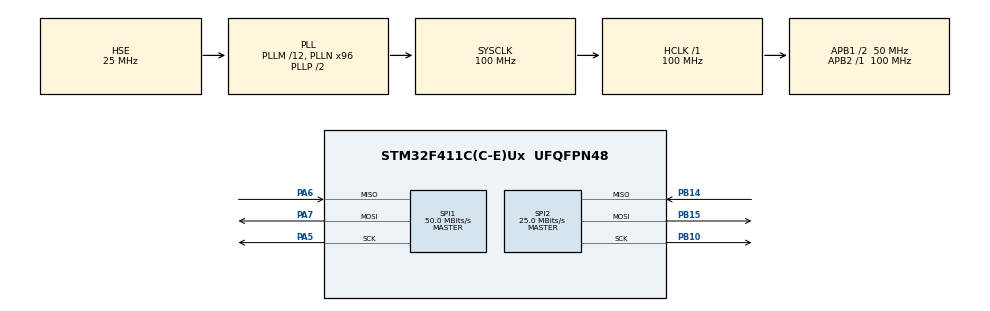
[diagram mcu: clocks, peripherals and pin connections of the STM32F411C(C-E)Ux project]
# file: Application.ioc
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Dma.Request0=SPI2_RX
Dma.Request1=SPI2_TX
Dma.Request2=SPI1_TX
Dma.SPI1_TX.2.Direction=DMA_MEMORY_TO_PERIPH
Dma.SPI1_TX.2.FIFOMode=DMA_FIFOMODE_DISABLE
Dma.SPI1_TX.2.Instance=DMA2_Stream3
Dma.SPI1_TX.2.MemDataAlignment=DMA_MDATAALIGN_BYTE
Dma.SPI1_TX.2.MemInc=DMA_MINC_ENABLE
Dma.SPI1_TX.2.Mode=DMA_NORMAL
Dma.SPI1_TX.2.PeriphDataAlignment=DMA_PDATAALIGN_BYTE
Dma.SPI1_TX.2.PeriphInc=DMA_PINC_DISABLE
Dma.SPI1_TX.2.Priority=DMA_PRIORITY_HIGH
Dma.SPI2_RX.0.Direction=DMA_PERIPH_TO_MEMORY
Dma.SPI2_RX.0.FIFOMode=DMA_FIFOMODE_DISABLE
Dma.SPI2_RX.0.Instance=DMA1_Stream3
Dma.SPI2_RX.0.MemDataAlignment=DMA_MDATAALIGN_BYTE
Dma.SPI2_RX.0.MemInc=DMA_MINC_ENABLE
Dma.SPI2_RX.0.Mode=DMA_NORMAL
Dma.SPI2_RX.0.PeriphDataAlignment=DMA_PDATAALIGN_BYTE
Dma.SPI2_RX.0.PeriphInc=DMA_PINC_DISABLE
Dma.SPI2_RX.0.Priority=DMA_PRIORITY_MEDIUM
Dma.SPI2_TX.1.Direction=DMA_MEMORY_TO_PERIPH
Dma.SPI2_TX.1.FIFOMode=DMA_FIFOMODE_DISABLE
Dma.SPI2_TX.1.Instance=DMA1_Stream4
Dma.SPI2_TX.1.MemDataAlignment=DMA_MDATAALIGN_BYTE
Dma.SPI2_TX.1.MemInc=DMA_MINC_ENABLE
Dma.SPI2_TX.1.Mode=DMA_NORMAL
Dma.SPI2_TX.1.PeriphDataAlignment=DMA_PDATAALIGN_BYTE
Dma.SPI2_TX.1.PeriphInc=DMA_PINC_DISABLE
Dma.SPI2_TX.1.Priority=DMA_PRIORITY_MEDIUM
FREERTOS.Tasks01=defaultTask,24,128,StartDefaultTask,Default,NULL,Dynamic,NULL,NULL
Mcu.Family=STM32F4
Mcu.Name=STM32F411C(C-E)Ux
Mcu.Package=UFQFPN48
NVIC.DMA1_Stream3_IRQn=true\:5\:0\:false\:false\:true\:true\:false\:true\:true
NVIC.DMA1_Stream4_IRQn=true\:5\:0\:false\:false\:true\:true\:false\:true\:true
NVIC.DMA2_Stream3_IRQn=true\:0\:0\:false\:false\:true\:false\:false\:true\:true
NVIC.PriorityGroup=NVIC_PRIORITYGROUP_4
NVIC.SPI1_IRQn=true\:5\:0\:false\:false\:true\:true\:true\:true\:true
NVIC.SPI2_IRQn=true\:5\:0\:false\:false\:true\:true\:true\:true\:true
NVIC.TIM1_UP_TIM10_IRQn=true\:15\:0\:false\:false\:true\:false\:false\:true\:true
NVIC.TimeBase=TIM1_UP_TIM10_IRQn
NVIC.TimeBaseIP=TIM10
PA0-WKUP.Mode=SYS_WakeUp0
PA0-WKUP.Signal=SYS_WKUP
PA13.Mode=Serial_Wire
PA13.Signal=SYS_JTMS-SWDIO
PA14.Mode=Serial_Wire
PA14.Signal=SYS_JTCK-SWCLK
PA5.Mode=Full_Duplex_Master
PA5.Signal=SPI1_SCK
PA6.Mode=Full_Duplex_Master
PA6.Signal=SPI1_MISO
PA7.Mode=Full_Duplex_Master
PA7.Signal=SPI1_MOSI
PB10.Mode=Full_Duplex_Master
PB10.Signal=SPI2_SCK
PB14.Mode=Full_Duplex_Master
PB14.Signal=SPI2_MISO
PB15.Mode=Full_Duplex_Master
PB15.Signal=SPI2_MOSI
PC14-OSC32_IN.Mode=LSE-External-Oscillator
PC14-OSC32_IN.Signal=RCC_OSC32_IN
PC15-OSC32_OUT.Mode=LSE-External-Oscillator
PC15-OSC32_OUT.Signal=RCC_OSC32_OUT
PH0\ -\ OSC_IN.Mode=HSE-External-Oscillator
PH0\ -\ OSC_IN.Signal=RCC_OSC_IN
PH1\ -\ OSC_OUT.Mode=HSE-External-Oscillator
PH1\ -\ OSC_OUT.Signal=RCC_OSC_OUT
ProjectManager.HeapSize=0x200
ProjectManager.StackSize=0x400
ProjectManager.TargetToolchain=CMake
RCC.48MHZClocksFreq_Value=50000000
RCC.AHBFreq_Value=100000000
RCC.APB1CLKDivider=RCC_HCLK_DIV2
RCC.APB1Freq_Value=50000000
RCC.APB1TimFreq_Value=100000000
RCC.APB2Freq_Value=100000000
RCC.APB2TimFreq_Value=100000000
RCC.CortexFreq_Value=100000000
RCC.HCLKFreq_Value=100000000
RCC.HSE_VALUE=25000000
RCC.HSI_VALUE=16000000
RCC.PLLM=12
RCC.PLLN=96
RCC.PLLSourceVirtual=RCC_PLLSOURCE_HSE
RCC.SYSCLKFreq_VALUE=100000000
RCC.SYSCLKSource=RCC_SYSCLKSOURCE_PLLCLK
RCC.VCOOutputFreq_Value=200000000
SPI1.BaudRatePrescaler=SPI_BAUDRATEPRESCALER_2
SPI1.CalculateBaudRate=50.0 MBits/s
SPI1.Direction=SPI_DIRECTION_2LINES
SPI1.Mode=SPI_MODE_MASTER
SPI1.VirtualType=VM_MASTER
SPI2.BaudRatePrescaler=SPI_BAUDRATEPRESCALER_2
SPI2.CalculateBaudRate=25.0 MBits/s
SPI2.Direction=SPI_DIRECTION_2LINES
SPI2.Mode=SPI_MODE_MASTER
SPI2.VirtualType=VM_MASTER
VP_CRC_VS_CRC.Mode=CRC_Activate
VP_FREERTOS_VS_CMSIS_V2.Mode=CMSIS_V2
VP_IWDG_VS_IWDG.Mode=IWDG_Activate
VP_SYS_VS_tim10.Mode=TIM10
board=custom

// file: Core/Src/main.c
/* USER CODE BEGIN Header */
/**
  ******************************************************************************
  * @file           : main.c
  * @brief          : Main program body
  ******************************************************************************
  * @attention
  *
  * Copyright (c) 2026 STMicroelectronics.
  * All rights reserved.
  *
  * This software is licensed under terms that can be found in the LICENSE file
  * in the root directory of this software component.
  * If no LICENSE file comes with this software, it is provided AS-IS.
  *
  ******************************************************************************
  */
/* USER CODE END Header */
#include "main.h"
#include "cmsis_os.h"
#include "crc.h"
#include "dma.h"
#include "iwdg.h"
#include "spi.h"
#include "gpio.h"
#include "delay.h"

void SystemClock_Config(void);
void MX_FREERTOS_Init(void);

int main(void)
{

  /* MCU Configuration--------------------------------------------------------*/

  /* Reset of all peripherals, Initializes the Flash interface and the Systick. */
  HAL_Init();

  /* Configure the system clock */
  SystemClock_Config();

  /* Enable the Cortex-M cycle counter used by software I2C delay_us(). */
  delay_init();

  /* Initialize all configured peripherals */
  MX_GPIO_Init();
  MX_DMA_Init();
  MX_IWDG_Init();
  MX_SPI1_Init();
  MX_SPI2_Init();
  MX_CRC_Init();

  /* Init scheduler */
  osKernelInitialize();  /* Call init function for freertos objects (in cmsis_os2.c) */
  MX_FREERTOS_Init();

  /* Start scheduler */
  osKernelStart();

  /* We should never get here as control is now taken by the scheduler */

  /* Infinite loop */
  while (1)
  {

  }
}

void SystemClock_Config(void)
{
  RCC_OscInitTypeDef RCC_OscInitStruct = {0};
  RCC_ClkInitTypeDef RCC_ClkInitStruct = {0};

  /** Configure the main internal regulator output voltage
  */
  __HAL_RCC_PWR_CLK_ENABLE();
  __HAL_PWR_VOLTAGESCALING_CONFIG(PWR_REGULATOR_VOLTAGE_SCALE1);

  /** Initializes the RCC Oscillators according to the specified parameters
  * in the RCC_OscInitTypeDef structure.
  */
  RCC_OscInitStruct.OscillatorType = RCC_OSCILLATORTYPE_LSI|RCC_OSCILLATORTYPE_HSE;
  RCC_OscInitStruct.HSEState = RCC_HSE_ON;
  RCC_OscInitStruct.LSIState = RCC_LSI_ON;
  RCC_OscInitStruct.PLL.PLLState = RCC_PLL_ON;
  RCC_OscInitStruct.PLL.PLLSource = RCC_PLLSOURCE_HSE;
  RCC_OscInitStruct.PLL.PLLM = 12;
  RCC_OscInitStruct.PLL.PLLN = 96;
  RCC_OscInitStruct.PLL.PLLP = RCC_PLLP_DIV2;
  RCC_OscInitStruct.PLL.PLLQ = 4;
  if (HAL_RCC_OscConfig(&RCC_OscInitStruct) != HAL_OK)
  {
    Error_Handler();
  }

  /** Initializes the CPU, AHB and APB buses clocks
  */
  RCC_ClkInitStruct.ClockType = RCC_CLOCKTYPE_HCLK|RCC_CLOCKTYPE_SYSCLK
                              |RCC_CLOCKTYPE_PCLK1|RCC_CLOCKTYPE_PCLK2;
  RCC_ClkInitStruct.SYSCLKSource = RCC_SYSCLKSOURCE_PLLCLK;
  RCC_ClkInitStruct.AHBCLKDivider = RCC_SYSCLK_DIV1;
  RCC_ClkInitStruct.APB1CLKDivider = RCC_HCLK_DIV2;
  RCC_ClkInitStruct.APB2CLKDivider = RCC_HCLK_DIV1;

  if (HAL_RCC_ClockConfig(&RCC_ClkInitStruct, FLASH_LATENCY_3) != HAL_OK)
  {
    Error_Handler();
  }
}

void HAL_TIM_PeriodElapsedCallback(TIM_HandleTypeDef *htim)
{
  if (htim->Instance == TIM10)
  {
    HAL_IncTick();
  }
}

void Error_Handler(void)
{
  __disable_irq();
  while (1)
  {
  }
}

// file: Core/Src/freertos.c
/* USER CODE BEGIN Header */
/**
  ******************************************************************************
  * File Name          : freertos.c
  * Description        : Code for freertos applications
  ******************************************************************************
  * @attention
  *
  * Copyright (c) 2026 STMicroelectronics.
  * All rights reserved.
  *
  * This software is licensed under terms that can be found in the LICENSE file
  * in the root directory of this software component.
  * If no LICENSE file comes with this software, it is provided AS-IS.
  *
  ******************************************************************************
  */
/* USER CODE END Header */

#include "FreeRTOS.h"
#include "task.h"
#include "main.h"
#include "cmsis_os.h"
#include "storage_service.h"
#include "lvgl_task.h"

/* USER CODE BEGIN Includes */
#include "drv_adapter_port_accel.h"
#include "drv_adapter_port_display.h"
#include "drv_adapter_port_flash.h"
#include "drv_adapter_port_temphumi.h"
#include "drv_adapter_port_touch.h"
#include "accel_service.h"
#include "temp_humi_service.h"

/* USER CODE END Includes */

/* Definitions for defaultTask */
osThreadId_t defaultTaskHandle;
osThreadId_t lvglTaskHandle;
const osThreadAttr_t defaultTask_attributes = {
  .name = "defaultTask",
  .stack_size = 2048,
  .priority = (osPriority_t) osPriorityNormal,
};
const osThreadAttr_t lvglTask_attributes = {
  .name = "lvglTask",
  .stack_size = 2048,
  .priority = (osPriority_t) osPriorityNormal,
};

void StartDefaultTask(void *argument);

void MX_FREERTOS_Init(void); /* (MISRA C 2004 rule 8.1) */

void MX_FREERTOS_Init(void) {
  /* USER CODE BEGIN Init */
  (void)drv_adapter_port_display_register(0U, NULL);
  (void)drv_adapter_port_temphumi_register(0U, NULL);
  (void)drv_adapter_port_accel_register(0U, NULL);
  (void)drv_adapter_port_touch_register(0U, NULL);
  (void)drv_adapter_port_flash_register(FLASH_DEV_EXTERNAL);

  /* USER CODE END Init */

  /* Create the thread(s) */
  /* creation of defaultTask */
  defaultTaskHandle = osThreadNew(StartDefaultTask, NULL, &defaultTask_attributes);
  lvglTaskHandle = osThreadNew(lvgl_task_entry, NULL, &lvglTask_attributes);

}

void StartDefaultTask(void *argument)
{
  /* USER CODE BEGIN StartDefaultTask */
  (void)storage_service_init();
  (void)accel_service_start(NULL);
  (void)temp_humi_service_start(NULL);
  /* Infinite loop */
  for(;;)
  {
    osDelay(1);
  }
  /* USER CODE END StartDefaultTask */
}
